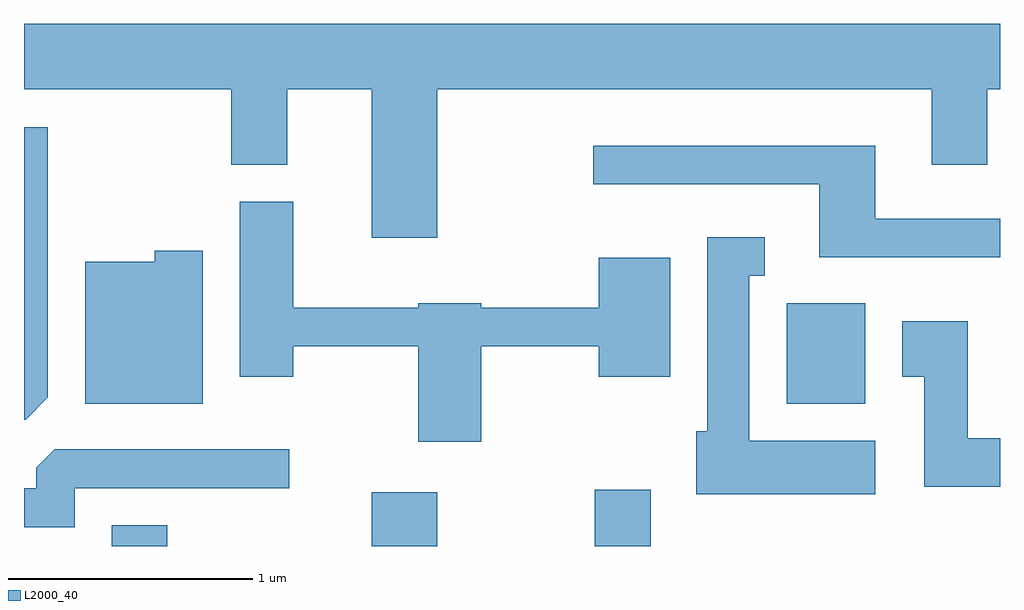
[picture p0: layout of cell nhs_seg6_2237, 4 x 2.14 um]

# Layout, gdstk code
import gdstk
lib = gdstk.Library(unit=1e-6, precision=1e-09)
def R(c, l, rs):  # rectangles x0, y0, x1, y1
    for r in rs: c.add(gdstk.rectangle(r[:2], r[2:], *l))
def P(c, l, *ps):  # polygons
    for p in ps: c.add(gdstk.Polygon(p, *l))
L2000_40 = (2000, 40)

nhs_seg6_2237 = lib.new_cell('nhs_seg6_2237')
R(nhs_seg6_2237, L2000_40, [(253.971,1548.162,254.199,1548.249), (255.036,1548.162,255.304,1548.384), (255.951,1548.162,256.179,1548.394), (256.736,1548.746,257.059,1549.159)])
P(nhs_seg6_2237, L2000_40, [(255.304,1550.036),(257.331,1550.036),(257.331,1549.726),(257.559,1549.726),(257.559,1550.036),(257.611,1550.036),(257.611,1550.304),(253.611,1550.304),(253.611,1550.036),(254.461,1550.036),(254.461,1549.726),(254.689,1549.726),(254.689,1550.036),(255.036,1550.036),(255.036,1549.426),(255.304,1549.426)],
  [(253.709,1548.772),(253.709,1549.879),(253.611,1549.879),(253.611,1548.681),(253.619,1548.681)],
  [(257.611,1549.504),(257.099,1549.504),(257.099,1549.804),(255.943,1549.804),(255.943,1549.646),(256.871,1549.646),(256.871,1549.346),(257.611,1549.346)],
  [(255.484,1548.981),(255.966,1548.981),(255.966,1548.856),(256.259,1548.856),(256.259,1549.344),(255.966,1549.344),(255.966,1549.139),(255.484,1549.139),(255.484,1549.159),(255.226,1549.159),(255.226,1549.139),(254.714,1549.139),(254.714,1549.574),(254.496,1549.574),(254.496,1548.856),(254.714,1548.856),(254.714,1548.981),(255.226,1548.981),(255.226,1548.591),(255.484,1548.591)],
  [(257.099,1548.594),(256.584,1548.594),(256.584,1549.271),(256.647,1549.271),(256.647,1549.429),(256.411,1549.429),(256.411,1548.634),(256.366,1548.634),(256.366,1548.376),(257.099,1548.376)],
  [(254.344,1549.374),(254.146,1549.374),(254.146,1549.329),(253.861,1549.329),(253.861,1548.746),(254.344,1548.746)],
  [(257.611,1548.604),(257.479,1548.604),(257.479,1549.084),(257.211,1549.084),(257.211,1548.856),(257.301,1548.856),(257.301,1548.406),(257.611,1548.406)],
  [(253.819,1548.401),(254.698,1548.401),(254.698,1548.559),(253.737,1548.559),(253.661,1548.484),(253.661,1548.399),(253.611,1548.399),(253.611,1548.241),(253.819,1548.241)])

lib.write_gds('nhs_seg6_2237.gds')
